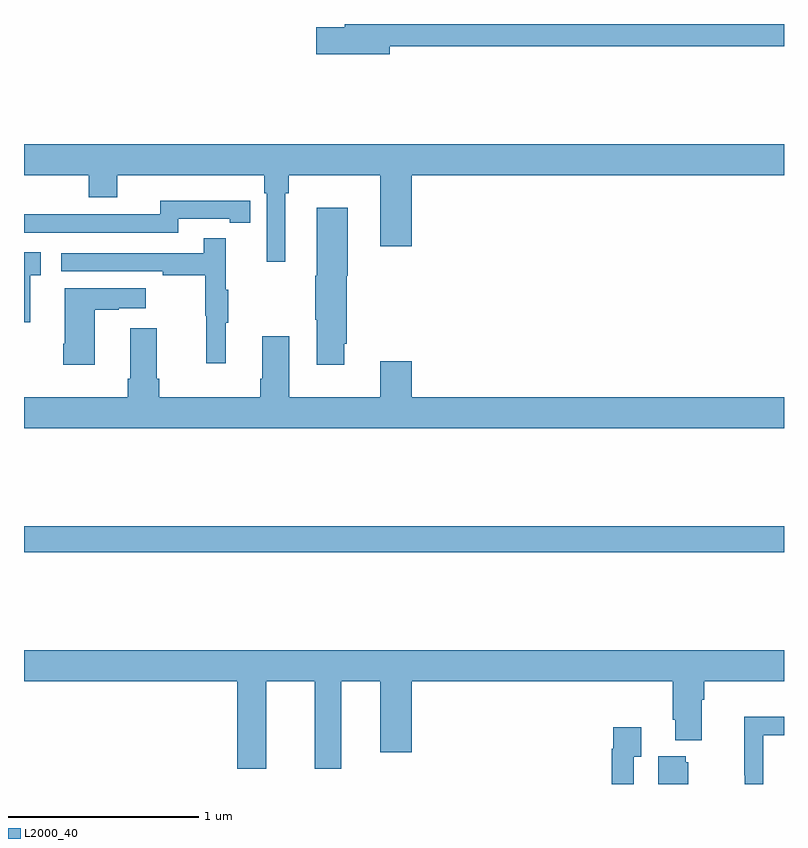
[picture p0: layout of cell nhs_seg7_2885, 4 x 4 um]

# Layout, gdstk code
import gdstk
lib = gdstk.Library(unit=1e-6, precision=1e-09)
def R(c, l, rs):  # rectangles x0, y0, x1, y1
    for r in rs: c.add(gdstk.rectangle(r[:2], r[2:], *l))
def P(c, l, *ps):  # polygons
    for p in ps: c.add(gdstk.Polygon(p, *l))
L2000_40 = (2000, 40)

nhs_seg7_2885 = lib.new_cell('nhs_seg7_2885')
R(nhs_seg7_2885, L2000_40, [(295,1077.22,299,1077.356)])
P(nhs_seg7_2885, L2000_40, [(296.926,1079.884),(299,1079.884),(299,1080),(296.687,1080),(296.687,1079.984),(296.538,1079.984),(296.538,1079.842),(296.926,1079.842)],
  [(296.374,1079.108),(296.393,1079.108),(296.393,1079.204),(296.876,1079.204),(296.876,1078.83),(297.04,1078.83),(297.04,1079.204),(299,1079.204),(299,1079.368),(295,1079.368),(295,1079.204),(295.34,1079.204),(295.34,1079.087),(295.492,1079.087),(295.492,1079.204),(296.264,1079.204),(296.264,1079.108),(296.277,1079.108),(296.277,1078.749),(296.374,1078.749)],
  [(295.812,1078.974),(296.084,1078.974),(296.084,1078.954),(296.192,1078.954),(296.192,1079.07),(296.084,1079.07),(296.084,1079.071),(295.716,1079.071),(295.716,1078.998),(295.256,1078.998),(295.256,1079),(295,1079),(295,1078.902),(295.812,1078.902)],
  [(296.686,1078.318),(296.699,1078.318),(296.699,1078.674),(296.704,1078.674),(296.704,1079.032),(296.54,1079.032),(296.54,1078.674),(296.533,1078.674),(296.533,1078.444),(296.54,1078.444),(296.54,1078.206),(296.686,1078.206)],
  [(296.063,1078.427),(296.074,1078.427),(296.074,1078.601),(296.063,1078.601),(296.063,1078.873),(295.945,1078.873),(295.945,1078.794),(295.197,1078.794),(295.197,1078.698),(295.729,1078.698),(295.729,1078.678),(295.953,1078.678),(295.953,1078.464),(295.96,1078.464),(295.96,1078.215),(296.063,1078.215)],
  [(295.034,1078.677),(295.087,1078.677),(295.087,1078.798),(295,1078.798),(295,1078.431),(295.034,1078.431)],
  [(295.372,1078.495),(295.499,1078.495),(295.499,1078.505),(295.642,1078.505),(295.642,1078.609),(295.214,1078.609),(295.214,1078.318),(295.207,1078.318),(295.207,1078.206),(295.372,1078.206)],
  [(299,1078.036),(297.04,1078.036),(297.04,1078.225),(296.876,1078.225),(296.876,1078.036),(296.395,1078.036),(296.395,1078.357),(296.255,1078.357),(296.255,1078.132),(296.243,1078.132),(296.243,1078.036),(295.712,1078.036),(295.712,1078.132),(295.699,1078.132),(295.699,1078.399),(295.559,1078.399),(295.559,1078.132),(295.547,1078.132),(295.547,1078.036),(295,1078.036),(295,1077.872),(299,1077.872)],
  [(296.275,1076.54),(296.531,1076.54),(296.531,1076.079),(296.671,1076.079),(296.671,1076.54),(296.876,1076.54),(296.876,1076.166),(297.04,1076.166),(297.04,1076.54),(298.415,1076.54),(298.415,1076.338),(298.427,1076.338),(298.427,1076.231),(298.567,1076.231),(298.567,1076.444),(298.58,1076.444),(298.58,1076.54),(299,1076.54),(299,1076.704),(295,1076.704),(295,1076.54),(296.123,1076.54),(296.123,1076.079),(296.275,1076.079)],
  [(298.89,1076.256),(299,1076.256),(299,1076.354),(298.792,1076.354),(298.792,1076.047),(298.794,1076.047),(298.794,1076),(298.89,1076)],
  [(298.209,1076.143),(298.249,1076.143),(298.249,1076.299),(298.101,1076.299),(298.101,1076.186),(298.093,1076.186),(298.093,1076),(298.209,1076)],
  [(298.495,1076.115),(298.484,1076.115),(298.484,1076.146),(298.337,1076.146),(298.337,1076),(298.495,1076)])

lib.write_gds('nhs_seg7_2885.gds')
